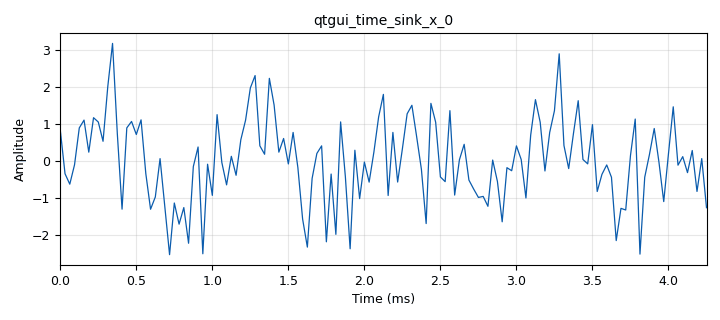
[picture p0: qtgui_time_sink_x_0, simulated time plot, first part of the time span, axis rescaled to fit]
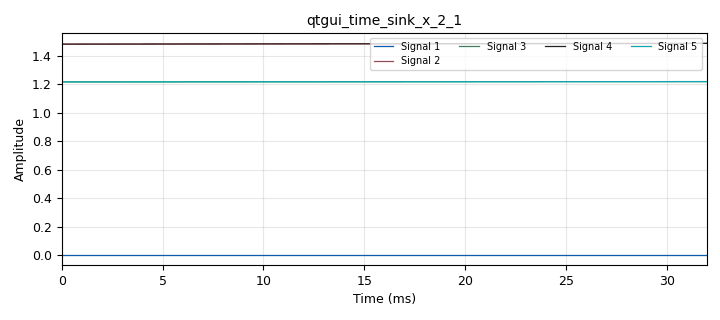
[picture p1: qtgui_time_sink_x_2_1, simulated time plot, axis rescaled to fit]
options:
  parameters:
    author: Daniel_Brandon
    generate_options: qt_gui
    id: Practica1
    output_language: python
    title: Promedios de tiempo
  states: {}

blocks:
- name: samp_rate
  id: variable
  parameters:
    value: '32000'
  states: {}
- name: analog_noise_source_x_0
  id: analog_noise_source_x
  parameters:
    amp: '1'
    noise_type: analog.GR_GAUSSIAN
    seed: '0'
    type: float
  states: {}
- name: analog_sig_source_x_0
  id: analog_sig_source_x
  parameters:
    amp: '1'
    freq: '1000'
    offset: '0'
    phase: '0'
    samp_rate: samp_rate
    type: float
    waveform: analog.GR_SIN_WAVE
  states: {}
- name: blocks_add_xx_0
  id: blocks_add_xx
  parameters:
    type: float
  states: {}
- name: epy_block_0
  id: epy_block
  parameters:
    _source_code: "import numpy as np\nfrom gnuradio import gr\n\nclass blk(gr.sync_block):\n    def __init__(self):\n        gr.sync_block.__init__(\n            self,\n            name='Promedios_de_tiempos',\n            in_sig=[np.float32],\n            out_sig=[np.float32, np.float32, np.float32, np.float32, np.float32]\n        )\n        self.acum_sum = 0.0\n        self.acum_sq_sum = 0.0\n        self.acum_var_sum = 0.0\n        self.N_total = 0\n\n    def work(self, input_items, output_items):\n        x = input_items[0]\n        N = len(x)\n\n        self.N_total += N\n\n        # Promedio\n        suma = np.sum(x)\n        self.acum_sum += suma\n        media = self.acum_sum / self.N_total\n\n        # Media Cuadrática\n        x2 = np.square(x)\n        suma_x2 = np.sum(x2)\n        self.acum_sq_sum += suma_x2\n        media_cuad = self.acum_sq_sum / self.N_total\n\n        # RMS\n        rms = np.sqrt(media_cuad)\n\n        # Potencia promedio (igual a media cuadrática)\n        potencia = media_cuad\n\n        # Desviación estándar\n        suma_var = np.sum((x - media) ** 2)\n        self.acum_var_sum += suma_var\n        desviacion = np.sqrt(self.acum_var_sum / self.N_total)\n\n        # Salidas: solo una muestra por salida\n        output_items[0][0] = media\n        output_items[1][0] = media_cuad\n        output_items[2][0] = rms\n        output_items[3][0] = potencia\n        output_items[4][0] = desviacion\n\n        return 1\n\n"
  states: {}
- name: qtgui_number_sink_0
  id: qtgui_number_sink
  parameters:
    graph_type: qtgui.NUM_GRAPH_HORIZ
    name: '"Media"'
    type: float
  states: {}
- name: qtgui_number_sink_0_0
  id: qtgui_number_sink
  parameters:
    graph_type: qtgui.NUM_GRAPH_HORIZ
    name: '"Desviación Estandar"'
    type: float
  states: {}
- name: qtgui_number_sink_0_1
  id: qtgui_number_sink
  parameters:
    graph_type: qtgui.NUM_GRAPH_HORIZ
    name: '"Potencia Promedio"'
    type: float
  states: {}
- name: qtgui_number_sink_0_2
  id: qtgui_number_sink
  parameters:
    graph_type: qtgui.NUM_GRAPH_HORIZ
    name: '"Media Cuadratica"'
    type: float
  states: {}
- name: qtgui_number_sink_0_3
  id: qtgui_number_sink
  parameters:
    graph_type: qtgui.NUM_GRAPH_HORIZ
    name: '"RMS"'
    type: float
  states: {}
- name: qtgui_time_sink_x_0
  id: qtgui_time_sink_x
  parameters:
    size: '1024'
    srate: samp_rate
    type: float
  states: {}
- name: qtgui_time_sink_x_2_1
  id: qtgui_time_sink_x
  parameters:
    nconnections: '5'
    size: '1024'
    srate: samp_rate
    type: float
  states: {}

connections:
- [analog_noise_source_x_0, '0', blocks_add_xx_0, '1']
- [analog_sig_source_x_0, '0', blocks_add_xx_0, '0']
- [blocks_add_xx_0, '0', epy_block_0, '0']
- [blocks_add_xx_0, '0', qtgui_time_sink_x_0, '0']
- [epy_block_0, '0', qtgui_number_sink_0, '0']
- [epy_block_0, '0', qtgui_time_sink_x_2_1, '0']
- [epy_block_0, '1', qtgui_number_sink_0_2, '0']
- [epy_block_0, '1', qtgui_time_sink_x_2_1, '1']
- [epy_block_0, '2', qtgui_number_sink_0_3, '0']
- [epy_block_0, '2', qtgui_time_sink_x_2_1, '2']
- [epy_block_0, '3', qtgui_number_sink_0_1, '0']
- [epy_block_0, '3', qtgui_time_sink_x_2_1, '3']
- [epy_block_0, '4', qtgui_number_sink_0_0, '0']
- [epy_block_0, '4', qtgui_time_sink_x_2_1, '4']

metadata:
  file_format: 1
  grc_version: v3.10.11.0-89-ga17f69e7
